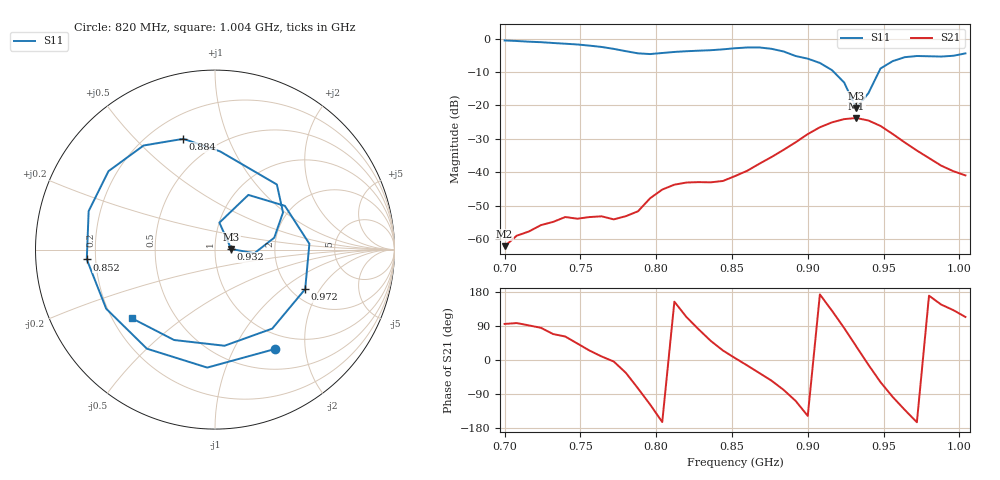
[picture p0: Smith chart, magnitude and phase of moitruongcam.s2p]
# Hz S RI R 50
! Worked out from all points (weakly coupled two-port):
!   39 points, 700 MHz to 1.004 GHz, reference 50 ohm
!   highest |S21| = -23.78 dB at 932 MHz (marker M1); lowest = -62.1 dB at 700 MHz (marker M2)
!   lowest |S11| = -20.9 dB at 932 MHz (marker M3), VSWR 1.20, Z = 59.9 + j0.408 ohm
!   |S11| at or under -10 dB: 917.2 MHz to 946.9 MHz (29.67 MHz wide, 3.18 % of centre)
!   S12 and S22 are empty: the file has one direction only
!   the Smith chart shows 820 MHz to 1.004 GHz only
!   S11 on the Smith chart (normalised r, x): 820 MHz: 0.78, -1.48; 852 MHz: 0.17, -0.04; 884 MHz: 0.33, +0.70; 932 MHz: 1.20, +0.01; 972 MHz: 2.36, -1.49; 1.004 GHz: 0.28, -0.34
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7e8  0.7556 0.5548  -7.08e-05 0.000778  0 0  0 0
7.24e8  0.8478 -0.2468  0.000143 0.00161  0 0  0 0
7.4e8  0.4611 -0.6994  0.001 0.00188  0 0  0 0
7.56e8  -0.1844 -0.7625  0.00193 0.000898  0 0  0 0
7.72e8  -0.6649 -0.2232  0.00196 -0.000137  0 0  0 0
7.8e8  -0.6156 0.2006  0.00182 -0.00123  0 0  0 0
7.96e8  0.1937 0.5536  -0.00188 -0.00361  0 0  0 0
8.04e8  0.5588 0.2408  -0.00528 -0.00154  0 0  0 0
8.2e8  0.3343 -0.5538  -0.00277 0.00644  0 0  0 0
8.36e8  -0.3795 -0.552  0.00449 0.00544  0 0  0 0
8.52e8  -0.7144 -0.0547  0.00871 0.000778  0 0  0 0
8.68e8  -0.5935 0.4369  0.011 -0.00751  0 0  0 0
8.84e8  -0.1766 0.6171  0.00427 -0.0212  0 0  0 0
9e8  0.3447 0.3627  -0.0314 -0.02  0 0  0 0
9.08e8  0.379 0.2068  -0.0467 0.00573  0 0  0 0
9.24e8  0.2193 -0.0205  0.00602 0.062  0 0  0 0
9.32e8  0.0905 0.00337  0.0524 0.0379  0 0  0 0
9.4e8  0.0245 0.1501  0.058 -0.0129  0 0  0 0
9.56e8  0.3893 0.2438  -0.00475 -0.0371  0 0  0 0
9.72e8  0.5024 -0.2202  -0.0203 -0.00572  0 0  0 0
9.88e8  0.0531 -0.5357  -0.0104 0.00696  0 0  0 0
1.004e9  -0.4615 -0.3834  -0.00359 0.00821  0 0  0 0
